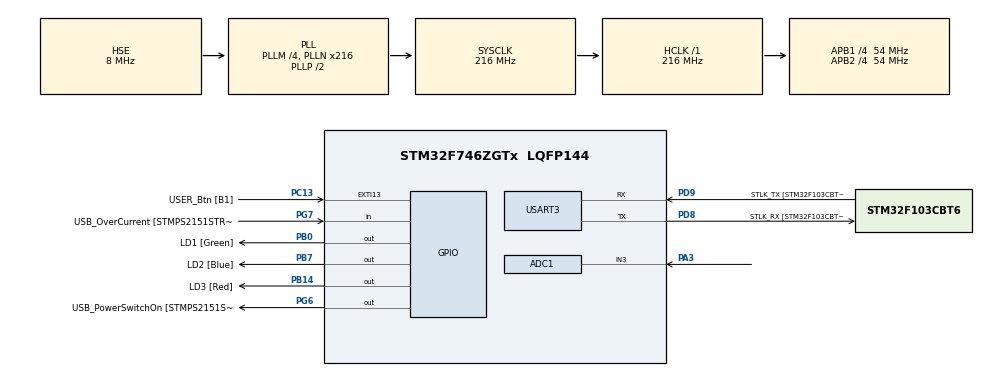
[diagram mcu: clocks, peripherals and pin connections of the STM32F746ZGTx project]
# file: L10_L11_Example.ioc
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ADC1.Channel-0\#ChannelRegularConversion=ADC_CHANNEL_3
ADC1.DMAContinuousRequests=DISABLE
ADC1.EOCSelection=ADC_EOC_SINGLE_CONV
ADC1.NbrOfConversion=1
ADC1.NbrOfConversionFlag=1
ADC1.Rank-0\#ChannelRegularConversion=1
ADC1.SamplingTime-0\#ChannelRegularConversion=ADC_SAMPLETIME_480CYCLES
ADC1.master=1
ARM.CMSIS.5.7.0.CMSISJjCORE=true
ARM.CMSIS.5.7.0.CMSISJjDSP=Library
Mcu.Family=STM32F7
Mcu.Name=STM32F746ZGTx
Mcu.Package=LQFP144
NVIC.ADC_IRQn=true\:0\:0\:false\:false\:true\:true\:true\:true
NVIC.PriorityGroup=NVIC_PRIORITYGROUP_4
NVIC.TIM7_IRQn=true\:0\:0\:false\:false\:true\:true\:true\:true
PA1.GPIO_Label=RMII_REF_CLK [LAN8742A-CZ-TR_REFCLK0]
PA1.Signal=ETH_REF_CLK
PA10.GPIO_Label=USB_ID
PA10.Signal=USB_OTG_FS_ID
PA11.GPIO_Label=USB_DM
PA11.Signal=USB_OTG_FS_DM
PA12.GPIO_Label=USB_DP
PA12.Signal=USB_OTG_FS_DP
PA13.GPIO_Label=TMS
PA13.Mode=Serial_Wire
PA13.Signal=SYS_JTMS-SWDIO
PA14.GPIO_Label=TCK
PA14.Mode=Serial_Wire
PA14.Signal=SYS_JTCK-SWCLK
PA2.GPIO_Label=RMII_MDIO [LAN8742A-CZ-TR_MDIO]
PA2.Signal=ETH_MDIO
PA3.Signal=ADCx_IN3
PA7.GPIO_Label=RMII_CRS_DV [LAN8742A-CZ-TR_CRS_DV]
PA7.Signal=ETH_CRS_DV
PA8.GPIO_Label=USB_SOF [TP1]
PA8.Signal=USB_OTG_FS_SOF
PA9.GPIO_Label=USB_VBUS
PA9.Signal=USB_OTG_FS_VBUS
PB0.GPIO_Label=LD1 [Green]
PB0.Signal=GPIO_Output
PB13.GPIO_Label=RMII_TXD1 [LAN8742A-CZ-TR_TXD1]
PB13.Signal=ETH_TXD1
PB14.GPIO_Label=LD3 [Red]
PB14.Signal=GPIO_Output
PB3.GPIO_Label=SW0
PB3.Signal=SYS_JTDO-SWO
PB7.GPIO_Label=LD2 [Blue]
PB7.Signal=GPIO_Output
PC0.Signal=ADCx_IN10
PC1.GPIO_Label=RMII_MDC [LAN8742A-CZ-TR_MDC]
PC1.Signal=ETH_MDC
PC13.GPIO_Label=USER_Btn [B1]
PC13.Signal=GPXTI13
PC14/OSC32_IN.Mode=LSE-External-Oscillator
PC14/OSC32_IN.Signal=RCC_OSC32_IN
PC15/OSC32_OUT.Mode=LSE-External-Oscillator
PC15/OSC32_OUT.Signal=RCC_OSC32_OUT
PC4.GPIO_Label=RMII_RXD0 [LAN8742A-CZ-TR_RXD0]
PC4.Signal=ETH_RXD0
PC5.GPIO_Label=RMII_RXD1 [LAN8742A-CZ-TR_RXD1]
PC5.Signal=ETH_RXD1
PD8.GPIO_Label=STLK_RX [STM32F103CBT6_PA3]
PD8.GPIO_PuPd=GPIO_PULLUP
PD8.Mode=Asynchronous
PD8.Signal=USART3_TX
PD9.GPIO_Label=STLK_TX [STM32F103CBT6_PA2]
PD9.GPIO_PuPd=GPIO_PULLUP
PD9.Mode=Asynchronous
PD9.Signal=USART3_RX
PG11.GPIO_Label=RMII_TX_EN [LAN8742A-CZ-TR_TXEN]
PG11.Signal=ETH_TX_EN
PG13.GPIO_Label=RMII_TXD0 [LAN8742A-CZ-TR_TXD0]
PG13.Signal=ETH_TXD0
PG6.GPIO_Label=USB_PowerSwitchOn [STMPS2151STR_EN]
PG6.Signal=GPIO_Output
PG7.GPIO_Label=USB_OverCurrent [STMPS2151STR_FAULT]
PG7.Signal=GPIO_Input
PH0/OSC_IN.GPIO_Label=MCO [STM32F103CBT6_PA8]
PH0/OSC_IN.Mode=HSE-External-Clock-Source
PH0/OSC_IN.Signal=RCC_OSC_IN
PH1/OSC_OUT.Mode=HSE-External-Clock-Source
PH1/OSC_OUT.Signal=RCC_OSC_OUT
ProjectManager.HeapSize=0x200
ProjectManager.StackSize=0x400
ProjectManager.TargetToolchain=STM32CubeIDE
RCC.48MHZClocksFreq_Value=24000000
RCC.AHBFreq_Value=216000000
RCC.APB1CLKDivider=RCC_HCLK_DIV4
RCC.APB1Freq_Value=54000000
RCC.APB1TimFreq_Value=108000000
RCC.APB2CLKDivider=RCC_HCLK_DIV4
RCC.APB2Freq_Value=54000000
RCC.APB2TimFreq_Value=108000000
RCC.CortexFreq_Value=216000000
RCC.HCLKFreq_Value=216000000
RCC.HSE_VALUE=8000000
RCC.HSI_VALUE=16000000
RCC.PLLM=4
RCC.PLLMUL=RCC_PLL_MUL9
RCC.PLLN=216
RCC.PLLQ=3
RCC.PLLSourceVirtual=RCC_PLLSOURCE_HSE
RCC.PRESCALERUSB=RCC_USBCLKSOURCE_PLL_DIV1_5
RCC.SYSCLKFreq_VALUE=216000000
RCC.SYSCLKSource=RCC_SYSCLKSOURCE_PLLCLK
RCC.SYSCLKSourceVirtual=RCC_SYSCLKSOURCE_PLLCLK
RCC.USBFreq_Value=144000000
RCC.VCOOutputFreq_Value=432000000
SH.ADCx_IN10.0=ADC1_IN10
SH.ADCx_IN3.0=ADC1_IN3,IN3
TIM7.Period=999
TIM7.Prescaler=107
USART3.VirtualMode-Asynchronous=VM_ASYNC
VP_ARM.CMSIS_VS_CMSISJjCORE_5.4.0_5.7.0.Mode=CMSISJjCORE
VP_ARM.CMSIS_VS_CMSISJjDSP_1.8.0_5.7.0.Mode=CMSISJjDSP
VP_TIM7_VS_ClockSourceINT.Mode=Enable_Timer
board=NUCLEO-F746ZG

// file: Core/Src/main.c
/* USER CODE BEGIN Header */
/**
  ******************************************************************************
  * @file           : main.c
  * @brief          : Main program body
  ******************************************************************************
  * @attention
  *
  * Copyright (c) 2023 STMicroelectronics.
  * All rights reserved.
  *
  * This software is licensed under terms that can be found in the LICENSE file
  * in the root directory of this software component.
  * If no LICENSE file comes with this software, it is provided AS-IS.
  *
  ******************************************************************************
  */
/* USER CODE END Header */
#include "main.h"
#include "adc.h"
#include "tim.h"
#include "usart.h"
#include "gpio.h"

/* USER CODE BEGIN Includes */
#include "arm_math.h"
#include "aio.h"
#include "IIR1_biquad_df1.h"
#include "FIR1_fir.h"
/* USER CODE END Includes */

/* USER CODE BEGIN PV */
float ain, ain_fir, ain_iir_tmp, ain_iir;
/* USER CODE END PV */

void SystemClock_Config(void);
/* USER CODE BEGIN PFP */
void RunAllTests(void);
/* USER CODE END PFP */

/* USER CODE BEGIN 0 */
/**
  * @brief  Regular conversion complete callback in non blocking mode
  * @param  hadc pointer to a ADC_HandleTypeDef structure that contains
  *         the configuration information for the specified ADC.
  * @retval None
  */
void HAL_ADC_ConvCpltCallback(ADC_HandleTypeDef* hadc)
{
  if(hadc == &hadc1)
  {
    ain = ADC_REG2VOLTAGE(HAL_ADC_GetValue(&hadc1));
    arm_fir_f32(&FIR1, &ain, &ain_fir, FIR1_BLOCK_SIZE);
    arm_biquad_cascade_df1_f32(&IIR1, &ain, &ain_iir_tmp, IIR1_BLOCK_SIZE);
    ain_iir = ain_iir_tmp;
  }
}

/**
  * @brief  Period elapsed callback in non-blocking mode
  * @param  htim TIM handle
  * @retval None
  */
void HAL_TIM_PeriodElapsedCallback(TIM_HandleTypeDef *htim)
{
  if(htim == &htim7)
  {
    HAL_ADC_Start_IT(&hadc1);
  }
}
/* USER CODE END 0 */

int main(void)
{

  /* MCU Configuration--------------------------------------------------------*/

  /* Reset of all peripherals, Initializes the Flash interface and the Systick. */
  HAL_Init();

  /* Configure the system clock */
  SystemClock_Config();

  /* Initialize all configured peripherals */
  MX_GPIO_Init();
  MX_ADC1_Init();
  MX_USART3_UART_Init();
  MX_TIM7_Init();
  /* USER CODE BEGIN 2 */
#ifdef DEBUG
  RunAllTests();
#endif

  for(int i = 0; i < 4*IIR1_NUM_STAGES; i++)
    IIR1_STATE[i] = 0;
  arm_biquad_cascade_df1_init_f32(&IIR1, IIR1_NUM_STAGES, IIR1_COEFFS, IIR1_STATE);

  for(int i = 0; i < FIR1_NUM_TAPS+FIR1_BLOCK_SIZE-1; i++)
    FIR1_STATE[i] = 0;
  arm_fir_init_f32(&FIR1, FIR1_NUM_TAPS, FIR1_COEFFS, FIR1_STATE, FIR1_BLOCK_SIZE);

  HAL_TIM_Base_Start_IT(&htim7);
  /* USER CODE END 2 */

  /* Infinite loop */
  while (1)
  {

  }
}

void SystemClock_Config(void)
{
  RCC_OscInitTypeDef RCC_OscInitStruct = {0};
  RCC_ClkInitTypeDef RCC_ClkInitStruct = {0};

  /** Configure LSE Drive Capability
  */
  HAL_PWR_EnableBkUpAccess();

  /** Configure the main internal regulator output voltage
  */
  __HAL_RCC_PWR_CLK_ENABLE();
  __HAL_PWR_VOLTAGESCALING_CONFIG(PWR_REGULATOR_VOLTAGE_SCALE1);

  /** Initializes the RCC Oscillators according to the specified parameters
  * in the RCC_OscInitTypeDef structure.
  */
  RCC_OscInitStruct.OscillatorType = RCC_OSCILLATORTYPE_HSE;
  RCC_OscInitStruct.HSEState = RCC_HSE_BYPASS;
  RCC_OscInitStruct.PLL.PLLState = RCC_PLL_ON;
  RCC_OscInitStruct.PLL.PLLSource = RCC_PLLSOURCE_HSE;
  RCC_OscInitStruct.PLL.PLLM = 4;
  RCC_OscInitStruct.PLL.PLLN = 216;
  RCC_OscInitStruct.PLL.PLLP = RCC_PLLP_DIV2;
  RCC_OscInitStruct.PLL.PLLQ = 3;
  if (HAL_RCC_OscConfig(&RCC_OscInitStruct) != HAL_OK)
  {
    Error_Handler();
  }

  /** Activate the Over-Drive mode
  */
  if (HAL_PWREx_EnableOverDrive() != HAL_OK)
  {
    Error_Handler();
  }

  /** Initializes the CPU, AHB and APB buses clocks
  */
  RCC_ClkInitStruct.ClockType = RCC_CLOCKTYPE_HCLK|RCC_CLOCKTYPE_SYSCLK
                              |RCC_CLOCKTYPE_PCLK1|RCC_CLOCKTYPE_PCLK2;
  RCC_ClkInitStruct.SYSCLKSource = RCC_SYSCLKSOURCE_PLLCLK;
  RCC_ClkInitStruct.AHBCLKDivider = RCC_SYSCLK_DIV1;
  RCC_ClkInitStruct.APB1CLKDivider = RCC_HCLK_DIV4;
  RCC_ClkInitStruct.APB2CLKDivider = RCC_HCLK_DIV4;

  if (HAL_RCC_ClockConfig(&RCC_ClkInitStruct, FLASH_LATENCY_7) != HAL_OK)
  {
    Error_Handler();
  }
}

void Error_Handler(void)
{
  __disable_irq();
  while (1)
  {
  }
}
